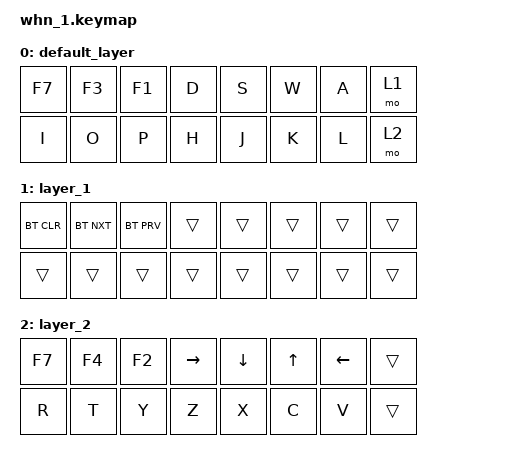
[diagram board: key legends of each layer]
#include <behaviors.dtsi>
#include <dt-bindings/zmk/keys.h>
#include <dt-bindings/zmk/bt.h>

/ {
    keymap {
        compatible = "zmk,keymap";

        default_layer {
            // P1_FIGHT模式
            bindings = <
                &kp F7  &kp F3  &kp F1  &kp D   &kp S   &kp W   &kp A   &mo 1
                &kp I   &kp O   &kp P   &kp H   &kp J   &kp K   &kp L   &mo 2
            >;
        };

        layer_1 {
            // 模式切换和蓝牙管理
            bindings = <
                &bt BT_CLR  &bt BT_NXT  &bt BT_PRV  &trans  &trans  &trans  &trans  &trans
                &trans      &trans      &trans      &trans  &trans  &trans  &trans  &trans
            >;
        };

        layer_2 {
            // P2_FIGHT模式
            bindings = <
                &kp F7  &kp F4  &kp F2  &kp RIGHT  &kp DOWN  &kp UP  &kp LEFT  &trans
                &kp R   &kp T   &kp Y   &kp Z      &kp X     &kp C   &kp V     &trans
            >;
        };
    };
};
